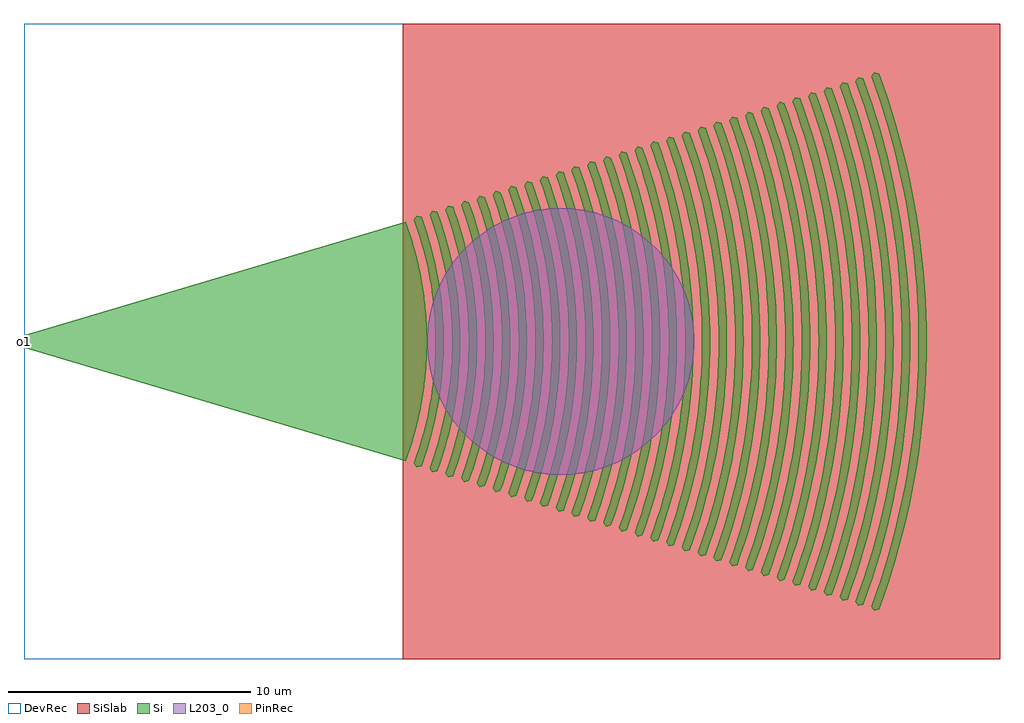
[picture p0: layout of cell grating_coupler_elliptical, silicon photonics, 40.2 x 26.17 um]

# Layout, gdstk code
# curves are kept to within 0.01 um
import gdstk
lib = gdstk.Library(unit=1e-6, precision=1e-09)
def R(c, l, rs):  # rectangles x0, y0, x1, y1
    for r in rs: c.add(gdstk.rectangle(r[:2], r[2:], *l))
def P(c, l, *ps):  # polygons
    for p in ps: c.add(gdstk.Polygon(p, *l))
Si = (1, 0)
PinRec = (1, 10)
SiSlab = (2, 0)
DevRec = (68, 0)
L203_0 = (203, 0)

circle_b065b65f = lib.new_cell('circle_b065b65f')
P(circle_b065b65f, L203_0, [(5.5,0),(5.495,0.24),(5.453,0.718),(5.37,1.19),(5.245,1.654),(5.081,2.105),(4.879,2.54),(4.639,2.955),(4.505,3.155),(4.213,3.535),(3.889,3.889),(3.535,4.213),(3.155,4.505),(2.955,4.639),(2.54,4.879),(2.105,5.081),(1.654,5.245),(1.19,5.37),(0.718,5.453),(0.24,5.495),(0,5.5),(-0.24,5.495),(-0.718,5.453),(-1.19,5.37),(-1.654,5.245),(-2.105,5.081),(-2.54,4.879),(-2.955,4.639),(-3.155,4.505),(-3.535,4.213),(-3.889,3.889),(-4.213,3.535),(-4.505,3.155),(-4.639,2.955),(-4.879,2.54),(-5.081,2.105),(-5.245,1.654),(-5.37,1.19),(-5.453,0.718),(-5.495,0.24),(-5.5,0),(-5.495,-0.24),(-5.453,-0.718),(-5.37,-1.19),(-5.245,-1.654),(-5.081,-2.105),(-4.879,-2.54),(-4.639,-2.955),(-4.505,-3.155),(-4.213,-3.535),(-3.889,-3.889),(-3.535,-4.213),(-3.155,-4.505),(-2.955,-4.639),(-2.54,-4.879),(-2.105,-5.081),(-1.654,-5.245),(-1.19,-5.37),(-0.718,-5.453),(-0.24,-5.495),(0,-5.5),(0.24,-5.495),(0.718,-5.453),(1.19,-5.37),(1.654,-5.245),(2.105,-5.081),(2.54,-4.879),(2.955,-4.639),(3.155,-4.505),(3.535,-4.213),(3.889,-3.889),(4.213,-3.535),(4.505,-3.155),(4.639,-2.955),(4.879,-2.54),(5.081,-2.105),(5.245,-1.654),(5.37,-1.19),(5.453,-0.718),(5.495,-0.24)])

grating_coupler_elliptic = lib.new_cell('grating_coupler_elliptical')
P(grating_coupler_elliptic, Si, [(0,0.25),(0,-0.25),(15.723,-4.924),(15.965,-4.21),(16.198,-3.361),(16.379,-2.5),(16.507,-1.63),(16.573,-0.879),(16.6,0),(16.573,0.879),(16.507,1.63),(16.379,2.5),(16.198,3.361),(15.965,4.21),(15.723,4.924)],
  [(16.172,-5.185),(16.049,-5.019),(16.295,-4.289),(16.503,-3.549),(16.671,-2.799),(16.799,-2.042),(16.907,-1.023),(16.943,0),(16.907,1.023),(16.799,2.042),(16.671,2.799),(16.503,3.549),(16.295,4.289),(16.049,5.019),(16.172,5.185),(16.372,5.135),(16.698,4.139),(16.955,3.122),(17.099,2.349),(17.203,1.57),(17.265,0.786),(17.286,0),(17.265,-0.786),(17.203,-1.57),(17.099,-2.349),(16.955,-3.122),(16.698,-4.139),(16.372,-5.135)],
  [(16.822,-5.388),(16.699,-5.223),(16.955,-4.463),(17.171,-3.693),(17.346,-2.913),(17.479,-2.125),(17.545,-1.596),(17.591,-1.065),(17.62,-0.533),(17.629,0),(17.62,0.533),(17.591,1.065),(17.545,1.596),(17.479,2.125),(17.346,2.913),(17.171,3.693),(16.955,4.463),(16.699,5.223),(16.822,5.388),(17.021,5.338),(17.361,4.303),(17.504,3.777),(17.627,3.246),(17.778,2.442),(17.886,1.632),(17.95,0.817),(17.972,0),(17.95,-0.817),(17.886,-1.632),(17.778,-2.442),(17.627,-3.246),(17.504,-3.777),(17.361,-4.303),(17.021,-5.338)],
  [(17.471,-5.592),(17.348,-5.426),(17.531,-4.901),(17.769,-4.105),(17.965,-3.298),(18.118,-2.481),(18.196,-1.933),(18.276,-1.106),(18.315,0),(18.276,1.106),(18.196,1.933),(18.118,2.481),(17.965,3.298),(17.769,4.105),(17.531,4.901),(17.348,5.426),(17.471,5.592),(17.671,5.542),(17.857,5.008),(18.024,4.467),(18.172,3.921),(18.3,3.37),(18.456,2.535),(18.568,1.694),(18.636,0.848),(18.658,0),(18.636,-0.848),(18.568,-1.694),(18.456,-2.535),(18.3,-3.37),(18.172,-3.921),(18.024,-4.467),(17.857,-5.008),(17.671,-5.542)],
  [(18.121,-5.795),(17.998,-5.63),(18.275,-4.811),(18.435,-4.259),(18.638,-3.421),(18.796,-2.574),(18.91,-1.72),(18.961,-1.148),(19.001,0),(18.961,1.148),(18.91,1.72),(18.796,2.574),(18.638,3.421),(18.435,4.259),(18.275,4.811),(17.998,5.63),(18.121,5.795),(18.321,5.745),(18.687,4.631),(18.84,4.065),(18.973,3.493),(19.135,2.628),(19.251,1.756),(19.321,0.879),(19.344,0),(19.321,-0.879),(19.251,-1.756),(19.135,-2.628),(18.973,-3.493),(18.84,-4.065),(18.687,-4.631),(18.321,-5.745)],
  [(18.771,-5.999),(18.648,-5.833),(18.844,-5.269),(19.1,-4.413),(19.311,-3.545),(19.475,-2.667),(19.559,-2.078),(19.645,-1.189),(19.677,-0.595),(19.687,0),(19.677,0.595),(19.645,1.189),(19.559,2.078),(19.475,2.667),(19.311,3.545),(19.1,4.413),(18.844,5.269),(18.648,5.833),(18.771,5.999),(18.971,5.949),(19.17,5.376),(19.349,4.795),(19.508,4.209),(19.646,3.617),(19.814,2.722),(19.934,1.819),(20.006,0.911),(20.03,0),(20.006,-0.911),(19.934,-1.819),(19.814,-2.722),(19.646,-3.617),(19.508,-4.209),(19.349,-4.795),(19.17,-5.376),(18.971,-5.949)],
  [(19.421,-6.202),(19.298,-6.037),(19.594,-5.159),(19.844,-4.269),(20.046,-3.367),(20.154,-2.76),(20.24,-2.151),(20.33,-1.231),(20.362,-0.616),(20.373,0),(20.362,0.616),(20.33,1.231),(20.24,2.151),(20.154,2.76),(20.046,3.367),(19.844,4.269),(19.594,5.159),(19.298,6.037),(19.421,6.202),(19.621,6.152),(19.827,5.56),(20.012,4.959),(20.176,4.353),(20.319,3.741),(20.492,2.815),(20.616,1.881),(20.691,0.942),(20.716,0),(20.691,-0.942),(20.616,-1.881),(20.492,-2.815),(20.319,-3.741),(20.176,-4.353),(20.012,-4.959),(19.827,-5.56),(19.621,-6.152)],
  [(20.07,-6.406),(19.947,-6.24),(20.254,-5.333),(20.512,-4.413),(20.656,-3.793),(20.832,-2.854),(20.922,-2.223),(20.989,-1.59),(21.034,-0.955),(21.059,0),(21.048,0.637),(20.989,1.59),(20.922,2.223),(20.832,2.854),(20.656,3.793),(20.512,4.413),(20.254,5.333),(19.947,6.24),(20.07,6.406),(20.27,6.356),(20.483,5.744),(20.675,5.123),(20.844,4.497),(20.992,3.865),(21.171,2.908),(21.299,1.943),(21.376,0.973),(21.402,0),(21.376,-0.973),(21.299,-1.943),(21.171,-2.908),(20.992,-3.865),(20.844,-4.497),(20.675,-5.123),(20.483,-5.744),(20.27,-6.356)],
  [(20.72,-6.609),(20.597,-6.444),(20.814,-5.821),(21.097,-4.875),(21.329,-3.916),(21.511,-2.947),(21.603,-2.296),(21.673,-1.642),(21.719,-0.986),(21.745,0),(21.719,0.986),(21.673,1.642),(21.603,2.296),(21.511,2.947),(21.329,3.916),(21.097,4.875),(20.814,5.821),(20.597,6.444),(20.72,6.609),(20.92,6.559),(21.14,5.928),(21.337,5.287),(21.512,4.641),(21.665,3.988),(21.849,3.001),(21.982,2.005),(22.061,1.004),(22.088,0),(22.061,-1.004),(21.982,-2.005),(21.849,-3.001),(21.665,-3.988),(21.512,-4.641),(21.337,-5.287),(21.14,-5.928),(20.92,-6.559)],
  [(21.37,-6.813),(21.247,-6.647),(21.573,-5.681),(21.848,-4.701),(22.002,-4.04),(22.189,-3.04),(22.285,-2.368),(22.383,-1.355),(22.419,-0.678),(22.431,0),(22.419,0.678),(22.383,1.355),(22.285,2.368),(22.189,3.04),(22.002,4.04),(21.848,4.701),(21.573,5.681),(21.247,6.647),(21.37,6.813),(21.57,6.763),(21.686,6.439),(21.901,5.782),(22.093,5.119),(22.262,4.449),(22.407,3.774),(22.58,2.752),(22.665,2.067),(22.747,1.035),(22.774,0),(22.747,-1.035),(22.665,-2.067),(22.58,-2.752),(22.407,-3.774),(22.262,-4.449),(22.093,-5.119),(21.901,-5.782),(21.686,-6.439),(21.57,-6.763)],
  [(22.02,-7.016),(21.897,-6.851),(22.127,-6.188),(22.428,-5.183),(22.675,-4.164),(22.868,-3.133),(22.966,-2.441),(23.068,-1.397),(23.105,-0.699),(23.117,0),(23.105,0.699),(23.068,1.397),(22.966,2.441),(22.868,3.133),(22.675,4.164),(22.428,5.183),(22.127,6.188),(21.897,6.851),(22.02,7.016),(22.22,6.966),(22.339,6.633),(22.561,5.956),(22.759,5.273),(22.933,4.583),(23.082,3.887),(23.26,2.835),(23.382,1.776),(23.432,1.066),(23.46,0),(23.432,-1.066),(23.382,-1.776),(23.26,-2.835),(23.082,-3.887),(22.933,-4.583),(22.759,-5.273),(22.561,-5.956),(22.339,-6.633),(22.22,-6.966)],
  [(22.669,-7.22),(22.546,-7.054),(22.784,-6.372),(23.093,-5.337),(23.348,-4.287),(23.547,-3.226),(23.648,-2.513),(23.724,-1.797),(23.79,-0.72),(23.803,0),(23.79,0.72),(23.724,1.797),(23.648,2.513),(23.547,3.226),(23.348,4.287),(23.184,4.989),(22.893,6.029),(22.546,7.054),(22.669,7.22),(22.869,7.17),(22.992,6.826),(23.221,6.13),(23.424,5.427),(23.603,4.717),(23.757,4.001),(23.94,2.918),(24.03,2.192),(24.117,1.097),(24.146,0),(24.117,-1.097),(24.03,-2.192),(23.94,-2.918),(23.757,-4.001),(23.603,-4.717),(23.424,-5.427),(23.221,-6.13),(22.992,-6.826),(22.869,-7.17)],
  [(23.319,-7.423),(23.196,-7.258),(23.553,-6.203),(23.759,-5.491),(24.021,-4.411),(24.225,-3.319),(24.372,-2.218),(24.437,-1.48),(24.476,-0.74),(24.489,0),(24.476,0.74),(24.437,1.48),(24.372,2.218),(24.225,3.319),(24.021,4.411),(23.759,5.491),(23.553,6.203),(23.196,7.258),(23.319,7.423),(23.519,7.373),(23.766,6.663),(24.09,5.581),(24.274,4.85),(24.432,4.114),(24.564,3.373),(24.713,2.254),(24.802,1.128),(24.832,0),(24.802,-1.128),(24.713,-2.254),(24.564,-3.373),(24.432,-4.114),(24.274,-4.85),(24.09,-5.581),(23.766,-6.663),(23.519,-7.373)],
  [(23.969,-7.627),(23.846,-7.461),(24.212,-6.377),(24.521,-5.277),(24.694,-4.535),(24.904,-3.412),(25.011,-2.658),(25.091,-1.901),(25.162,-0.761),(25.175,0),(25.162,0.761),(25.091,1.901),(25.011,2.658),(24.904,3.412),(24.694,4.535),(24.521,5.277),(24.212,6.377),(23.846,7.461),(23.969,7.627),(24.169,7.577),(24.423,6.847),(24.651,6.107),(24.853,5.36),(25.107,4.228),(25.3,3.084),(25.433,1.931),(25.487,1.16),(25.518,0),(25.487,-1.16),(25.433,-1.931),(25.3,-3.084),(25.107,-4.228),(24.853,-5.36),(24.651,-6.107),(24.423,-6.847),(24.169,-7.577)],
  [(24.619,-7.83),(24.496,-7.665),(24.872,-6.551),(25.189,-5.421),(25.445,-4.275),(25.582,-3.505),(25.692,-2.731),(25.775,-1.953),(25.83,-1.173),(25.861,0),(25.83,1.173),(25.775,1.953),(25.692,2.731),(25.582,3.505),(25.445,4.275),(25.189,5.421),(24.872,6.551),(24.496,7.665),(24.619,7.83),(24.819,7.78),(25.079,7.031),(25.421,5.889),(25.615,5.118),(25.782,4.341),(25.98,3.167),(26.117,1.983),(26.173,1.191),(26.204,0),(26.173,-1.191),(26.117,-1.983),(25.98,-3.167),(25.782,-4.341),(25.615,-5.118),(25.421,-5.889),(25.079,-7.031),(24.819,-7.78)],
  [(25.268,-8.034),(25.145,-7.868),(25.532,-6.725),(25.857,-5.564),(26.12,-4.389),(26.261,-3.598),(26.374,-2.803),(26.459,-2.005),(26.533,-0.803),(26.547,0),(26.533,0.803),(26.459,2.005),(26.374,2.803),(26.261,3.598),(26.12,4.389),(25.857,5.564),(25.532,6.725),(25.145,7.868),(25.268,8.034),(25.468,7.984),(25.736,7.215),(26.086,6.043),(26.286,5.252),(26.457,4.455),(26.661,3.249),(26.761,2.44),(26.858,1.222),(26.89,0),(26.858,-1.222),(26.761,-2.44),(26.661,-3.249),(26.457,-4.455),(26.286,-5.252),(26.086,-6.043),(25.736,-7.215),(25.468,-7.984)],
  [(25.918,-8.237),(25.795,-8.072),(26.192,-6.899),(26.421,-6.107),(26.712,-4.906),(26.94,-3.691),(27.055,-2.876),(27.175,-1.646),(27.218,-0.823),(27.233,0),(27.218,0.823),(27.175,1.646),(27.055,2.876),(26.94,3.691),(26.712,4.906),(26.421,6.107),(26.192,6.899),(25.795,8.072),(25.918,8.237),(26.118,8.187),(26.392,7.399),(26.639,6.599),(26.858,5.792),(27.132,4.568),(27.341,3.332),(27.444,2.503),(27.543,1.253),(27.576,0),(27.543,-1.253),(27.444,-2.503),(27.341,-3.332),(27.132,-4.568),(26.858,-5.792),(26.639,-6.599),(26.392,-7.399),(26.118,-8.187)],
  [(26.568,-8.441),(26.445,-8.275),(26.851,-7.073),(27.193,-5.852),(27.385,-5.03),(27.618,-3.784),(27.737,-2.948),(27.826,-2.108),(27.886,-1.266),(27.919,0),(27.886,1.266),(27.826,2.108),(27.737,2.948),(27.618,3.784),(27.385,5.03),(27.193,5.852),(26.851,7.073),(26.445,8.275),(26.568,8.441),(26.768,8.391),(27.049,7.582),(27.302,6.763),(27.526,5.936),(27.807,4.682),(28.021,3.415),(28.168,2.139),(28.247,0.856),(28.262,0),(28.247,-0.856),(28.168,-2.139),(28.021,-3.415),(27.807,-4.682),(27.526,-5.936),(27.302,-6.763),(27.049,-7.582),(26.768,-8.391)],
  [(27.218,-8.644),(27.095,-8.479),(27.38,-7.659),(27.752,-6.415),(28.058,-5.153),(28.297,-3.877),(28.418,-3.021),(28.51,-2.16),(28.571,-1.297),(28.605,0),(28.59,0.865),(28.51,2.16),(28.418,3.021),(28.297,3.877),(28.058,5.153),(27.752,6.415),(27.38,7.659),(27.095,8.479),(27.218,8.644),(27.418,8.594),(27.706,7.766),(28.083,6.505),(28.297,5.654),(28.482,4.795),(28.701,3.498),(28.809,2.627),(28.913,1.315),(28.948,0),(28.913,-1.315),(28.809,-2.627),(28.701,-3.498),(28.482,-4.795),(28.297,-5.654),(28.083,-6.505),(27.706,-7.766),(27.418,-8.594)],
  [(27.867,-8.848),(27.744,-8.682),(28.171,-7.421),(28.417,-6.569),(28.731,-5.277),(28.975,-3.97),(29.151,-2.653),(29.229,-1.77),(29.275,-0.886),(29.291,0),(29.275,0.886),(29.229,1.77),(29.151,2.653),(28.975,3.97),(28.731,5.277),(28.417,6.569),(28.171,7.421),(27.744,8.682),(27.867,8.848),(28.067,8.798),(28.362,7.95),(28.749,6.659),(28.968,5.787),(29.157,4.909),(29.314,4.025),(29.492,2.689),(29.598,1.346),(29.634,0),(29.598,-1.346),(29.492,-2.689),(29.381,-3.581),(29.157,-4.909),(28.968,-5.787),(28.749,-6.659),(28.362,-7.95),(28.067,-8.798)],
  [(28.517,-9.051),(28.394,-8.886),(28.831,-7.595),(29.198,-6.284),(29.404,-5.401),(29.654,-4.064),(29.833,-2.715),(29.913,-1.812),(29.961,-0.907),(29.977,0),(29.961,0.907),(29.913,1.812),(29.833,2.715),(29.654,4.064),(29.404,5.401),(29.198,6.284),(28.831,7.595),(28.394,8.886),(28.517,9.051),(28.717,9.001),(29.019,8.134),(29.414,6.813),(29.639,5.921),(29.832,5.023),(30.061,3.663),(30.219,2.294),(30.284,1.378),(30.32,0),(30.284,-1.378),(30.219,-2.294),(30.061,-3.663),(29.832,-5.023),(29.639,-5.921),(29.414,-6.813),(29.019,-8.134),(28.717,-9.001)],
  [(29.167,-9.255),(29.044,-9.089),(29.49,-7.769),(29.866,-6.428),(30.17,-5.07),(30.333,-4.157),(30.463,-3.238),(30.598,-1.853),(30.647,-0.927),(30.663,0),(30.647,0.927),(30.598,1.853),(30.463,3.238),(30.333,4.157),(30.17,5.07),(29.866,6.428),(29.49,7.769),(29.044,9.089),(29.167,9.255),(29.367,9.205),(29.675,8.318),(30.08,6.967),(30.309,6.055),(30.506,5.136),(30.741,3.746),(30.903,2.346),(30.969,1.409),(31.006,0),(30.969,-1.409),(30.903,-2.346),(30.741,-3.746),(30.506,-5.136),(30.309,-6.055),(30.08,-6.967),(29.675,-8.318),(29.367,-9.205)],
  [(29.817,-9.458),(29.694,-9.293),(30.15,-7.943),(30.534,-6.572),(30.845,-5.184),(31.011,-4.25),(31.144,-3.311),(31.245,-2.368),(31.332,-0.948),(31.349,0),(31.332,0.948),(31.245,2.368),(31.144,3.311),(31.011,4.25),(30.845,5.184),(30.534,6.572),(30.15,7.943),(29.694,9.293),(29.817,9.458),(30.017,9.408),(30.332,8.502),(30.615,7.583),(30.867,6.656),(31.181,5.25),(31.422,3.829),(31.54,2.876),(31.654,1.44),(31.692,0),(31.654,-1.44),(31.54,-2.876),(31.422,-3.829),(31.181,-5.25),(30.867,-6.656),(30.615,-7.583),(30.332,-8.502),(30.017,-9.408)],
  [(30.466,-9.662),(30.343,-9.496),(30.663,-8.579),(31.08,-7.185),(31.422,-5.772),(31.69,-4.343),(31.826,-3.383),(31.967,-1.937),(32.018,-0.969),(32.035,0),(32.018,0.969),(31.967,1.937),(31.826,3.383),(31.69,4.343),(31.422,5.772),(31.08,7.185),(30.663,8.579),(30.343,9.496),(30.466,9.662),(30.666,9.612),(30.988,8.686),(31.411,7.275),(31.65,6.323),(31.856,5.363),(32.102,3.912),(32.27,2.45),(32.361,0.981),(32.378,0),(32.361,-0.981),(32.27,-2.45),(32.102,-3.912),(31.856,-5.363),(31.65,-6.323),(31.411,-7.275),(30.988,-8.686),(30.666,-9.612)],
  [(31.116,-9.865),(30.993,-9.7),(31.319,-8.763),(31.745,-7.339),(32.095,-5.896),(32.368,-4.436),(32.508,-3.456),(32.612,-2.471),(32.704,-0.99),(32.721,0),(32.704,0.99),(32.612,2.471),(32.508,3.456),(32.368,4.436),(32.095,5.896),(31.745,7.339),(31.319,8.763),(30.993,9.7),(31.116,9.865),(31.316,9.815),(31.645,8.869),(31.941,7.911),(32.203,6.944),(32.531,5.477),(32.782,3.995),(32.954,2.502),(33.046,1.002),(33.064,0),(33.046,-1.002),(32.954,-2.502),(32.782,-3.995),(32.531,-5.477),(32.203,-6.944),(31.941,-7.911),(31.645,-8.869),(31.316,-9.815)],
  [(31.766,-10.069),(31.643,-9.903),(31.976,-8.946),(32.411,-7.493),(32.768,-6.019),(33.047,-4.529),(33.247,-3.026),(33.336,-2.02),(33.389,-1.01),(33.407,0),(33.389,1.01),(33.336,2.02),(33.247,3.026),(33.047,4.529),(32.768,6.019),(32.411,7.493),(31.976,8.946),(31.643,9.903),(31.766,10.069),(31.966,10.019),(32.302,9.053),(32.742,7.583),(32.992,6.59),(33.206,5.59),(33.386,4.583),(33.588,3.062),(33.709,1.533),(33.75,0),(33.709,-1.533),(33.588,-3.062),(33.386,-4.583),(33.206,-5.59),(32.992,-6.59),(32.742,-7.583),(32.302,-9.053),(31.966,-10.019)],
  [(32.416,-10.272),(32.293,-10.107),(32.789,-8.638),(33.076,-7.647),(33.441,-6.143),(33.726,-4.622),(33.93,-3.088),(34.02,-2.061),(34.075,-1.031),(34.093,0),(34.075,1.031),(34.02,2.061),(33.93,3.088),(33.726,4.622),(33.441,6.143),(33.076,7.647),(32.789,8.638),(32.293,10.107),(32.416,10.272),(32.616,10.222),(32.958,9.237),(33.266,8.239),(33.539,7.232),(33.881,5.704),(34.064,4.676),(34.271,3.125),(34.395,1.564),(34.436,0),(34.395,-1.564),(34.271,-3.125),(34.064,-4.676),(33.881,-5.704),(33.539,-7.232),(33.266,-8.239),(32.958,-9.237),(32.616,-10.222)],
  [(33.065,-10.476),(32.942,-10.31),(33.289,-9.314),(33.742,-7.801),(34.114,-6.267),(34.404,-4.715),(34.552,-3.673),(34.705,-2.103),(34.76,-1.052),(34.779,0),(34.76,1.052),(34.705,2.103),(34.552,3.673),(34.404,4.715),(34.114,6.267),(33.742,7.801),(33.289,9.314),(32.942,10.31),(33.065,10.476),(33.265,10.426),(33.615,9.421),(34.073,7.891),(34.333,6.858),(34.556,5.817),(34.822,4.243),(35.005,2.657),(35.08,1.596),(35.122,0),(35.08,-1.596),(35.005,-2.657),(34.822,-4.243),(34.556,-5.817),(34.333,-6.858),(34.073,-7.891),(33.615,-9.421),(33.265,-10.426)],
  [(33.715,-10.679),(33.592,-10.514),(33.774,-10.007),(34.108,-8.986),(34.543,-7.436),(34.895,-5.865),(35.083,-4.808),(35.234,-3.746),(35.347,-2.679),(35.446,-1.073),(35.465,0),(35.446,1.073),(35.347,2.679),(35.234,3.746),(35.083,4.808),(34.895,5.865),(34.543,7.436),(34.108,8.986),(33.774,10.007),(33.592,10.514),(33.715,10.679),(33.915,10.629),(34.271,9.605),(34.738,8.045),(35.003,6.992),(35.231,5.931),(35.502,4.326),(35.689,2.709),(35.789,1.085),(35.808,0),(35.789,-1.085),(35.689,-2.709),(35.502,-4.326),(35.231,-5.931),(35.003,-6.992),(34.738,-8.045),(34.271,-9.605),(33.915,-10.629)],
  [(34.365,-10.883),(34.242,-10.717),(34.602,-9.682),(35.073,-8.109),(35.459,-6.514),(35.57,-5.978),(35.761,-4.901),(35.915,-3.818),(36.031,-2.731),(36.108,-1.64),(36.151,0),(36.108,1.64),(36.031,2.731),(35.915,3.818),(35.761,4.901),(35.57,5.978),(35.459,6.514),(35.073,8.109),(34.602,9.682),(34.242,10.717),(34.365,10.883),(34.565,10.833),(35.096,9.262),(35.544,7.663),(35.906,6.044),(36.183,4.409),(36.319,3.311),(36.45,1.658),(36.475,1.106),(36.494,0),(36.475,-1.106),(36.45,-1.658),(36.319,-3.311),(36.183,-4.409),(35.906,-6.044),(35.544,-7.663),(35.096,-9.262),(34.565,-10.833)],
  [(35.015,-11.086),(34.892,-10.921),(35.259,-9.866),(35.428,-9.334),(35.588,-8.8),(35.879,-7.724),(36.245,-6.092),(36.44,-4.994),(36.597,-3.891),(36.714,-2.783),(36.793,-1.671),(36.837,0),(36.793,1.671),(36.714,2.783),(36.597,3.891),(36.44,4.994),(36.245,6.092),(35.879,7.724),(35.588,8.8),(35.428,9.334),(35.259,9.866),(34.892,10.921),(35.015,11.086),(35.215,11.036),(35.585,9.973),(35.756,9.436),(36.212,7.807),(36.345,7.26),(36.581,6.158),(36.779,5.049),(36.863,4.491),(37.056,2.813),(37.101,2.251),(37.16,1.126),(37.18,0),(37.16,-1.126),(37.101,-2.251),(37.056,-2.813),(36.863,-4.491),(36.779,-5.049),(36.581,-6.158),(36.345,-7.26),(36.212,-7.807),(35.756,-9.436),(35.585,-9.973),(35.215,-11.036)])
R(grating_coupler_elliptic, SiSlab, [(15.6,-13.086,40.194,13.086)])
R(grating_coupler_elliptic, DevRec, [(0,-13.086,40.194,13.086)])
grating_coupler_elliptic.add(gdstk.FlexPath([(0.001,0),(-0.001,0)], 0.5, ends="flush", simple_path=True, layer=1, datatype=10))  # PinRec
grating_coupler_elliptic.add(gdstk.Reference(circle_b065b65f, (22.1,0)))
grating_coupler_elliptic.add(gdstk.Label('o1', (0,0), layer=1, texttype=10))

lib.write_gds('grating_coupler_elliptical.gds')
